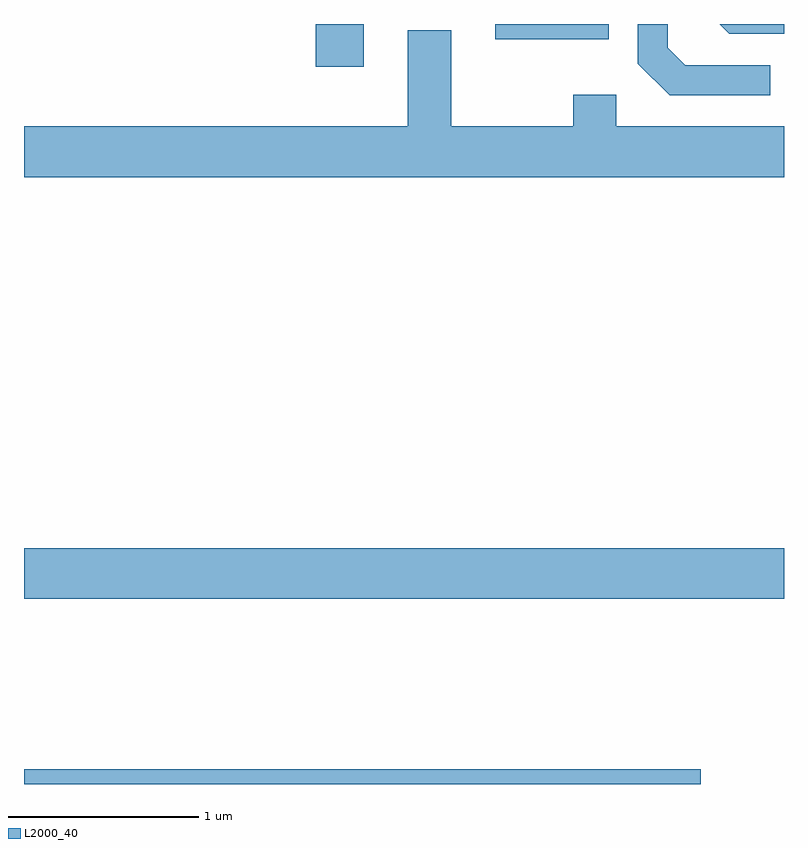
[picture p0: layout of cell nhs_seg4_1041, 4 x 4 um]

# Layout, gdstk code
import gdstk
lib = gdstk.Library(unit=1e-6, precision=1e-09)
def R(c, l, rs):  # rectangles x0, y0, x1, y1
    for r in rs: c.add(gdstk.rectangle(r[:2], r[2:], *l))
def P(c, l, *ps):  # polygons
    for p in ps: c.add(gdstk.Polygon(p, *l))
L2000_40 = (2000, 40)

nhs_seg4_1041 = lib.new_cell('nhs_seg4_1041')
R(nhs_seg4_1041, L2000_40, [(215.611,1295.982,219.174,1296.059), (215.611,1296.956,219.611,1297.224), (217.146,1299.756,217.399,1299.982), (218.091,1299.901,218.689,1299.982)])
P(nhs_seg4_1041, L2000_40, [(219.538,1299.764),(219.092,1299.764),(218.999,1299.857),(218.999,1299.982),(218.841,1299.982),(218.841,1299.774),(219.009,1299.606),(219.538,1299.606)],
  [(219.611,1299.982),(219.273,1299.982),(219.324,1299.931),(219.611,1299.931)],
  [(219.611,1299.444),(218.729,1299.444),(218.729,1299.609),(218.501,1299.609),(218.501,1299.444),(217.859,1299.444),(217.859,1299.949),(217.631,1299.949),(217.631,1299.444),(215.611,1299.444),(215.611,1299.176),(219.611,1299.176)])

lib.write_gds('nhs_seg4_1041.gds')
